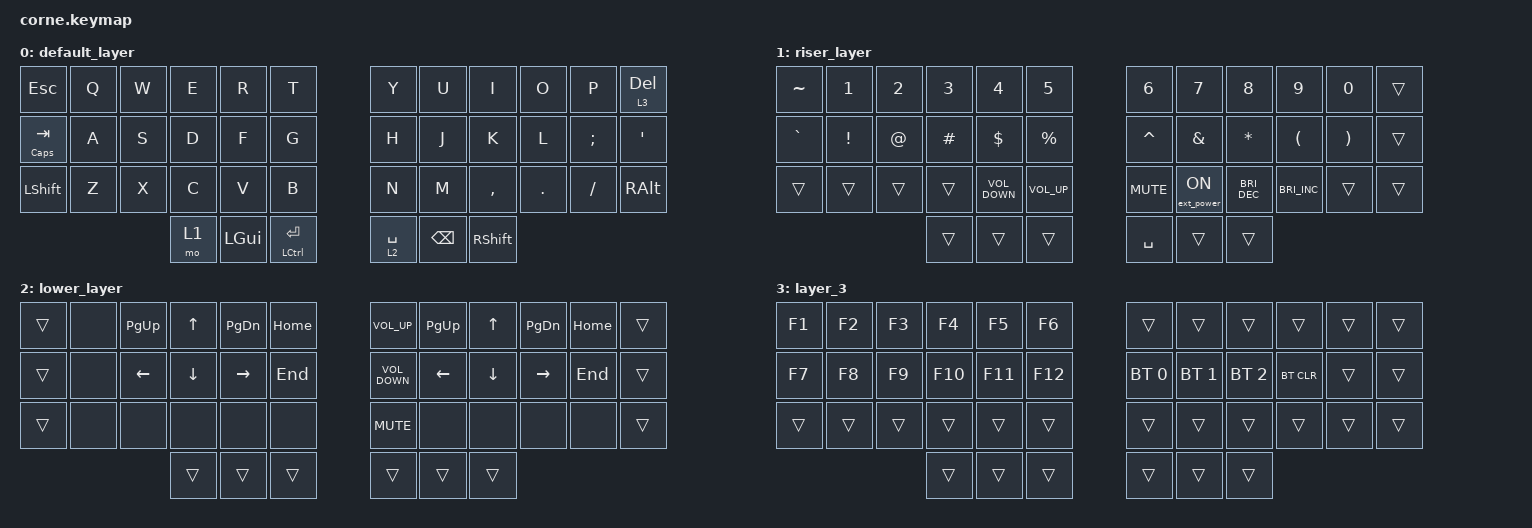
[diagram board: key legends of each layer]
/*
 * Copyright (c) 2020 The ZMK Contributors
 *
 * SPDX-License-Identifier: MIT
 */

#include <behaviors.dtsi>
#include <dt-bindings/zmk/bt.h>
#include <dt-bindings/zmk/ext_power.h>
#include <dt-bindings/zmk/keys.h>

&lt { tapping-term-ms = <400>; };

/ {
    behaviors {
        hm: homerow_mods {
            compatible = "zmk,behavior-hold-tap";
            #binding-cells = <2>;
            tapping-term-ms = <200>;
            quick-tap-ms = <200>;
            require-prior-idle-ms = <125>;
            flavor = "tap-preferred";
            bindings = <&kp>, <&kp>;
        };

        new_behavior: new_behavior {
            compatible = "zmk,behavior-hold-tap";
            label = "NEW_BEHAVIOR";
            bindings = <&key_repeat>, <&kp>;

            #binding-cells = <2>;
            tapping-term-ms = <200>;
            quick-tap-ms = <200>;
            require-prior-idle-ms = <125>;
            flavor = "tap-preferred";
        };
    };

    combos {
        compatible = "zmk,combos";

        lparan {
            bindings = <&kp LEFT_PARENTHESIS>;
            key-positions = <5 4>;
            layers = <0 1 2 3>;
            timeout-ms = <20>;
        };

        rparan {
            bindings = <&kp RIGHT_PARENTHESIS>;
            key-positions = <6 7>;
            timeout-ms = <20>;
            layers = <0 1 2 3>;
        };

        lbrace {
            bindings = <&kp LEFT_BRACE>;
            key-positions = <28 29>;
            timeout-ms = <20>;
            layers = <0 1 2 3>;
        };

        rbrace {
            bindings = <&kp RIGHT_BRACE>;
            key-positions = <30 31>;
            timeout-ms = <20>;
            layers = <0 1 2 3>;
        };

        lbracket {
            bindings = <&kp LEFT_BRACKET>;
            key-positions = <16 17>;
            timeout-ms = <20>;
            layers = <0 1 2 3>;
        };

        rbracket {
            bindings = <&kp RIGHT_BRACKET>;
            key-positions = <18 19>;
            timeout-ms = <20>;
            layers = <0 1 2 3>;
        };

        plus {
            bindings = <&kp PLUS>;
            key-positions = <2 3>;
            timeout-ms = <20>;
            layers = <0 1 2 3>;
        };

        minus {
            bindings = <&kp MINUS>;
            key-positions = <3 4>;
            timeout-ms = <20>;
            layers = <0 1 2 3>;
        };

        equal {
            bindings = <&kp EQUAL>;
            key-positions = <15 16>;
            timeout-ms = <20>;
            layers = <0 1 2 3>;
        };

        unders {
            bindings = <&kp UNDERSCORE>;
            key-positions = <7 8>;
            timeout-ms = <20>;
            layers = <0 1 2 3>;
        };

        pipe {
            bindings = <&kp PIPE>;
            key-positions = <8 9>;
            timeout-ms = <20>;
            layers = <0 1 2 3>;
        };

        backsla {
            bindings = <&kp BACKSLASH>;
            key-positions = <19 20>;
            timeout-ms = <20>;
            layers = <0 1 2 3>;
        };

        tilde {
            bindings = <&kp TILDE>;
            key-positions = <14 15>;
            timeout-ms = <20>;
            layers = <0 1 2 3>;
        };

        grave {
            bindings = <&kp GRAVE>;
            key-positions = <20 21>;
            timeout-ms = <20>;
            layers = <0 1 2 3>;
        };
    };

    keymap {
        compatible = "zmk,keymap";

        default_layer {
            // -----------------------------------------------------------------------------------------
            // |  TAB |  Q  |  W  |  E  |  R  |  T  |   |  Y  |  U   |  I  |  O  |  P  | BKSP |
            // | CTRL |  A  |  S  |  D  |  F  |  G  |   |  H  |  J   |  K  |  L  |  ;  |  '   |
            // | SHFT |  Z  |  X  |  C  |  V  |  B  |   |  N  |  M   |  ,  |  .  |  /  | ESC  |
            //                    | GUI | LWR | SPC |   | ENT | RSE  | ALT |

            bindings = <
&kp ESCAPE      &kp Q  &kp W  &kp E  &kp R         &kp T                     &kp Y        &kp U          &kp I            &kp O    &kp P     &lt 3 DEL
&hm CLCK TAB    &kp A  &kp S  &kp D  &kp F         &kp G                     &kp H        &kp J          &kp K            &kp L    &kp SEMI  &kp SINGLE_QUOTE
&kp LEFT_SHIFT  &kp Z  &kp X  &kp C  &kp V         &kp B                     &kp N        &kp M          &kp COMMA        &kp DOT  &kp FSLH  &kp RIGHT_ALT
                              &mo 1  &kp LEFT_GUI  &mt LEFT_CONTROL ENTER    &lt 2 SPACE  &kp BACKSPACE  &kp RIGHT_SHIFT
            >;
        };

        riser_layer {
            bindings = <
&kp TILDE  &kp NUMBER_1     &kp NUMBER_2  &kp NUMBER_3  &kp NUMBER_4       &kp NUMBER_5       &kp NUMBER_6  &kp NUMBER_7      &kp NUMBER_8          &kp NUMBER_9          &kp NUMBER_0           &trans
&kp GRAVE  &kp EXCLAMATION  &kp AT_SIGN   &kp HASH      &kp DOLLAR         &kp PERCENT        &kp CARET     &kp AMPERSAND     &kp ASTERISK          &kp LEFT_PARENTHESIS  &kp RIGHT_PARENTHESIS  &trans
&trans     &trans           &trans        &trans        &kp C_VOLUME_DOWN  &kp C_VOLUME_UP    &kp K_MUTE    &ext_power EP_ON  &kp C_BRIGHTNESS_DEC  &kp C_BRIGHTNESS_INC  &trans                 &trans
                                          &trans        &trans             &trans             &kp SPACE     &trans            &trans
            >;
        };

        lower_layer {
            bindings = <
&trans  &none  &kp PG_UP  &kp UP    &kp PG_DN  &kp HOME    &kp C_VOLUME_UP    &kp PG_UP  &kp UP          &kp PG_DN  &kp HOME  &trans
&trans  &none  &kp LEFT   &kp DOWN  &kp RIGHT  &kp END     &kp C_VOLUME_DOWN  &kp LEFT   &kp DOWN_ARROW  &kp RIGHT  &kp END   &trans
&trans  &none  &none      &none     &none      &none       &kp K_MUTE         &none      &none           &none      &none     &trans
                          &trans    &trans     &trans      &trans             &trans     &trans
            >;
        };

        layer_3 {
            bindings = <
&kp F1  &kp F2  &kp F3  &kp F4   &kp F5   &kp F6     &trans        &trans        &trans        &trans      &trans  &trans
&kp F7  &kp F8  &kp F9  &kp F10  &kp F11  &kp F12    &bt BT_SEL 0  &bt BT_SEL 1  &bt BT_SEL 2  &bt BT_CLR  &trans  &trans
&trans  &trans  &trans  &trans   &trans   &trans     &trans        &trans        &trans        &trans      &trans  &trans
                        &trans   &trans   &trans     &trans        &trans        &trans
            >;
        };
    };
};
